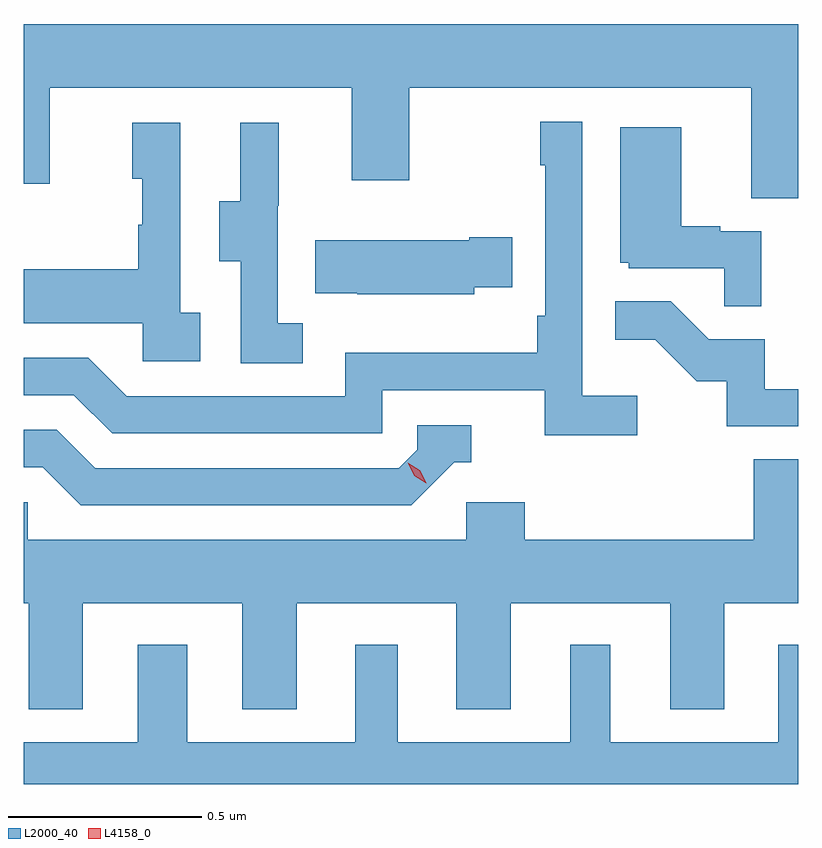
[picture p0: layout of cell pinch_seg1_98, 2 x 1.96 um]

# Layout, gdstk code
import gdstk
lib = gdstk.Library(unit=1e-6, precision=1e-09)
def P(c, l, *ps):  # polygons
    for p in ps: c.add(gdstk.Polygon(p, *l))
L2000_40 = (2000, 40)
L4158_0 = (4158, 0)

pinch_seg1_98 = lib.new_cell('pinch_seg1_98')
P(pinch_seg1_98, L2000_40, [(1043.592,545.236),(1041.592,545.236),(1041.592,544.824),(1041.659,544.824),(1041.659,545.072),(1042.439,545.072),(1042.439,544.833),(1042.587,544.833),(1042.587,545.072),(1043.471,545.072),(1043.471,544.786),(1043.592,544.786)],
  [(1043.176,544.276),(1043.034,544.276),(1043.034,544.984),(1042.926,544.984),(1042.926,544.871),(1042.938,544.871),(1042.938,544.483),(1042.918,544.483),(1042.918,544.387),(1042.422,544.387),(1042.422,544.275),(1041.858,544.275),(1041.759,544.374),(1041.592,544.374),(1041.592,544.278),(1041.722,544.278),(1041.821,544.179),(1042.518,544.179),(1042.518,544.29),(1042.937,544.29),(1042.937,544.174),(1043.176,544.174)],
  [(1042.312,544.463),(1042.248,544.463),(1042.248,544.767),(1042.25,544.767),(1042.25,544.981),(1042.151,544.981),(1042.151,544.779),(1042.097,544.779),(1042.097,544.624),(1042.152,544.624),(1042.152,544.36),(1042.312,544.36)],
  [(1042.048,544.49),(1041.996,544.49),(1041.996,544.981),(1041.872,544.981),(1041.872,544.836),(1041.898,544.836),(1041.898,544.718),(1041.888,544.718),(1041.888,544.603),(1041.592,544.603),(1041.592,544.463),(1041.9,544.463),(1041.9,544.365),(1042.048,544.365)],
  [(1043.496,544.701),(1043.39,544.701),(1043.39,544.714),(1043.29,544.714),(1043.29,544.969),(1043.132,544.969),(1043.132,544.62),(1043.154,544.62),(1043.154,544.605),(1043.401,544.605),(1043.401,544.507),(1043.496,544.507)],
  [(1042.755,544.556),(1042.853,544.556),(1042.853,544.686),(1042.742,544.686),(1042.742,544.678),(1042.345,544.678),(1042.345,544.541),(1042.453,544.541),(1042.453,544.538),(1042.755,544.538)],
  [(1043.592,544.293),(1043.505,544.293),(1043.505,544.422),(1043.361,544.422),(1043.263,544.52),(1043.119,544.52),(1043.119,544.421),(1043.223,544.421),(1043.33,544.314),(1043.407,544.314),(1043.407,544.197),(1043.592,544.197)],
  [(1042.704,544.104),(1042.747,544.104),(1042.747,544.2),(1042.608,544.2),(1042.608,544.137),(1042.56,544.089),(1041.777,544.089),(1041.678,544.188),(1041.592,544.188),(1041.592,544.092),(1041.641,544.092),(1041.74,543.993),(1042.593,543.993)],
  [(1041.745,543.74),(1042.157,543.74),(1042.157,543.467),(1042.297,543.467),(1042.297,543.74),(1042.709,543.74),(1042.709,543.467),(1042.849,543.467),(1042.849,543.74),(1043.261,543.74),(1043.261,543.467),(1043.401,543.467),(1043.401,543.74),(1043.592,543.74),(1043.592,544.112),(1043.477,544.112),(1043.477,543.904),(1042.886,543.904),(1042.886,544.002),(1042.734,544.002),(1042.734,543.904),(1041.603,543.904),(1041.603,544.002),(1041.592,544.002),(1041.592,543.74),(1041.605,543.74),(1041.605,543.467),(1041.745,543.467)],
  [(1043.592,543.634),(1043.54,543.634),(1043.54,543.382),(1043.107,543.382),(1043.107,543.634),(1043.003,543.634),(1043.003,543.382),(1042.558,543.382),(1042.558,543.634),(1042.448,543.634),(1042.448,543.382),(1042.015,543.382),(1042.015,543.634),(1041.887,543.634),(1041.887,543.382),(1041.592,543.382),(1041.592,543.274),(1043.592,543.274)])
P(pinch_seg1_98, L4158_0, [(1042.631,544.051),(1042.6,544.07),(1042.584,544.103),(1042.584,544.103),(1042.584,544.103),(1042.615,544.084),(1042.631,544.052),(1042.631,544.051)])

lib.write_gds('pinch_seg1_98.gds')
